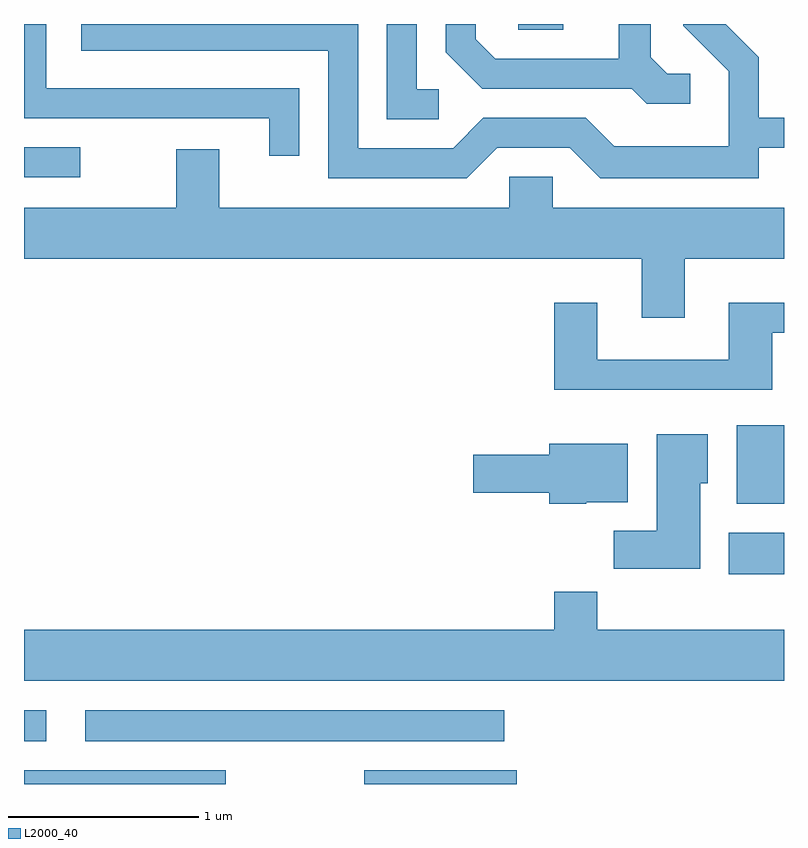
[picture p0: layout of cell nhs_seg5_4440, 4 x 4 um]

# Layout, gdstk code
import gdstk
lib = gdstk.Library(unit=1e-6, precision=1e-09)
def R(c, l, rs):  # rectangles x0, y0, x1, y1
    for r in rs: c.add(gdstk.rectangle(r[:2], r[2:], *l))
def P(c, l, *ps):  # polygons
    for p in ps: c.add(gdstk.Polygon(p, *l))
L2000_40 = (2000, 40)

nhs_seg5_4440 = lib.new_cell('nhs_seg5_4440')
R(nhs_seg5_4440, L2000_40, [(317.611,1414.072,318.673,1414.144), (319.403,1414.072,320.204,1414.144), (317.611,1414.296,317.728,1414.459), (317.933,1414.296,320.138,1414.459), (321.321,1415.176,321.611,1415.394), (321.361,1415.546,321.611,1415.959), (317.611,1417.266,317.908,1417.424), (320.211,1418.041,320.449,1418.072)])
P(nhs_seg5_4440, L2000_40, [(321.118,1417.809),(320.997,1417.809),(320.909,1417.897),(320.909,1418.072),(320.741,1418.072),(320.741,1417.889),(320.092,1417.889),(319.989,1417.992),(319.989,1418.072),(319.831,1418.072),(319.831,1417.924),(320.024,1417.731),(320.809,1417.731),(320.889,1417.651),(321.118,1417.651)],
  [(319.793,1417.729),(319.679,1417.729),(319.679,1418.072),(319.521,1418.072),(319.521,1417.571),(319.793,1417.571)],
  [(320.102,1417.421),(320.484,1417.421),(320.644,1417.261),(321.479,1417.261),(321.479,1417.421),(321.611,1417.421),(321.611,1417.579),(321.479,1417.579),(321.479,1417.897),(321.304,1418.072),(321.081,1418.072),(321.081,1418.064),(321.321,1417.824),(321.321,1417.429),(320.717,1417.429),(320.567,1417.579),(320.029,1417.579),(319.869,1417.419),(319.369,1417.419),(319.369,1418.072),(317.911,1418.072),(317.911,1417.931),(319.211,1417.931),(319.211,1417.261),(319.942,1417.261)],
  [(319.059,1417.734),(317.729,1417.734),(317.729,1418.072),(317.611,1418.072),(317.611,1417.576),(318.901,1417.576),(318.901,1417.378),(319.059,1417.378)],
  [(321.089,1416.836),(321.611,1416.836),(321.611,1417.104),(320.394,1417.104),(320.394,1417.269),(320.166,1417.269),(320.166,1417.104),(318.639,1417.104),(318.639,1417.414),(318.411,1417.414),(318.411,1417.104),(317.611,1417.104),(317.611,1416.836),(320.861,1416.836),(320.861,1416.526),(321.089,1416.526)],
  [(321.549,1416.446),(321.611,1416.446),(321.611,1416.604),(321.321,1416.604),(321.321,1416.304),(320.629,1416.304),(320.629,1416.604),(320.401,1416.604),(320.401,1416.146),(321.549,1416.146)],
  [(321.169,1415.656),(321.209,1415.656),(321.209,1415.914),(320.941,1415.914),(320.941,1415.404),(320.716,1415.404),(320.716,1415.206),(321.169,1415.206)],
  [(320.57,1415.556),(320.789,1415.556),(320.789,1415.864),(320.376,1415.864),(320.376,1415.804),(319.976,1415.804),(319.976,1415.606),(320.376,1415.606),(320.376,1415.546),(320.57,1415.546)],
  [(321.611,1414.884),(320.629,1414.884),(320.629,1415.084),(320.401,1415.084),(320.401,1414.884),(317.611,1414.884),(317.611,1414.616),(321.611,1414.616)])

lib.write_gds('nhs_seg5_4440.gds')
